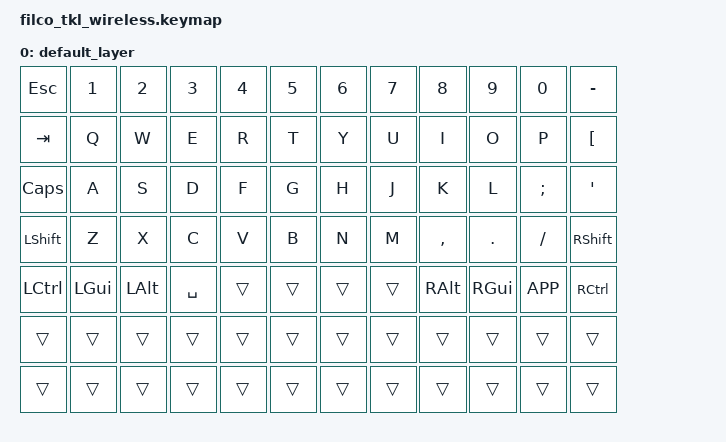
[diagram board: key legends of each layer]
#include <behaviors.dtsi>
#include <dt-bindings/zmk/keys.h>

/ {
    keymap {
        compatible = "zmk,keymap";

        default_layer {
            bindings = <
                &kp ESC  &kp N1  &kp N2  &kp N3  &kp N4  &kp N5  &kp N6  &kp N7  &kp N8  &kp N9  &kp N0  &kp MINUS
                &kp TAB  &kp Q   &kp W   &kp E   &kp R   &kp T   &kp Y   &kp U   &kp I   &kp O   &kp P   &kp LBKT
                &kp CAPS &kp A   &kp S   &kp D   &kp F   &kp G   &kp H   &kp J   &kp K   &kp L   &kp SEMI &kp QUOT
                &kp LSHFT &kp Z  &kp X   &kp C   &kp V   &kp B   &kp N   &kp M   &kp COMMA &kp DOT &kp SLASH &kp RSHFT
                &kp LCTRL &kp LGUI &kp LALT &kp SPACE &trans &trans &trans &trans &kp RALT &kp RGUI &kp K_APP &kp RCTRL
                &trans &trans &trans &trans &trans &trans &trans &trans &trans &trans &trans &trans
                &trans &trans &trans &trans &trans &trans &trans &trans &trans &trans &trans &trans
            >;
        };
    };
};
